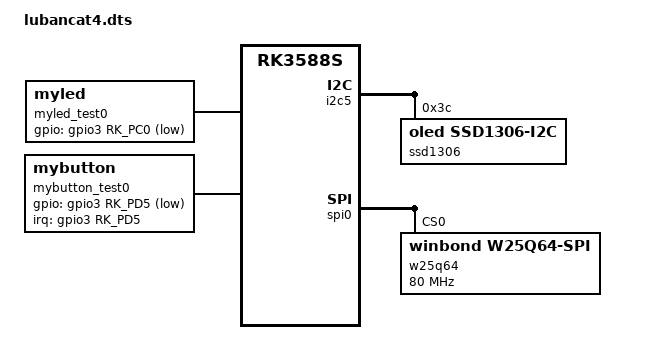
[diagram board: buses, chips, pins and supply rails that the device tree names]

/dts-v1/;

#include "dt-bindings/pinctrl/rockchip.h"
#include "dt-bindings/gpio/gpio.h"
#include "dt-bindings/input/input.h"
#include "dt-bindings/interrupt-controller/irq.h"
#include "rk3588s.dtsi"

/ {
    myled {
        compatible = "myled";
        label = "myled_test0";
        default-state = "on";
        gpios = <&gpio3 RK_PC0 GPIO_ACTIVE_LOW>;
        linux,default-trigger = "heartbeat";
        pinctrl-names = "default";
        pinctrl-0 = <&myled0>;
    };

    mybutton0 {
        compatible = "mybutton";
        label = "mybutton_test0";
        gpios = <&gpio3 RK_PD5 GPIO_ACTIVE_LOW>;
        linux,code = <KEY_ENTER>;
        debounce-interval = <10>;
        pinctrl-names = "default";
        pinctrl-0 = <&mybutton0>;
        interrupt-parent = <&gpio3>;
        interrupts = <RK_PD5 IRQ_TYPE_EDGE_FALLING>;
    };
};

&pinctrl {
    myled {
        myled0: myled0 {
            rockchip,pins = <3 RK_PC0 RK_FUNC_GPIO &pcfg_pull_none>;
        };
    };

    mybutton {
        mybutton0: mybutton0 {
            rockchip,pins = <3 RK_PD5 RK_FUNC_GPIO &pcfg_pull_up>;
        };
    };
};

&i2c5 {
    status = "okay";
    pinctrl-names = "default";
    pinctrl-0 = <0x310>;
    
    ssd1306: oled@3c {
        compatible = "oled,ssd1306-i2c";
        reg = <0x3c>;
        solomon,height = <64>;
        solomon,width = <128>;
        solomon,page-offset = <0>;
        solomon,com-lrremap;
        solomon,com-invdir;
        solomon,com-offset = <0>;
    };
};

&spi0 {
    status = "okay";
    pinctrl-names = "default";
    pinctrl-0 = <0x38f 0x38e>;
    num-cs = <0x01>;
    
    w25q64: flash@0 {
        status = "okay";
        compatible = "winbond,w25q64-spi";
        // compatible = "jedec,spi-nor";
        reg = <0>;
        spi-max-frequency = <80000000>;
    };
};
